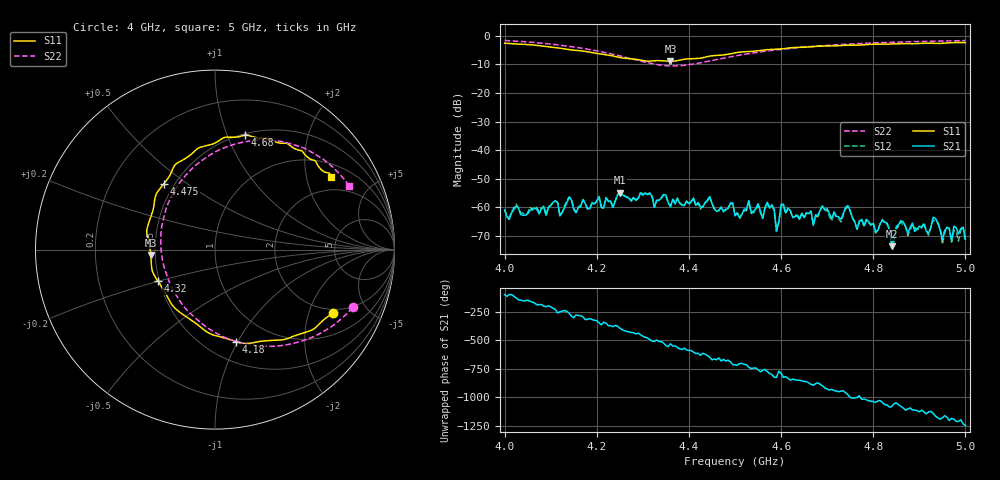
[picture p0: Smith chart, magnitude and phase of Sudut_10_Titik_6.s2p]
# Hz S RI R 50
! CMT, C1220, 16058040, 17.2.0/1
! Date: 15/08/2018 12:08:26
! Data: Format (Calibration Info)
! Freq  S11: Re/Im (F2)  S21: Re/Im (F2)  S12: Re/Im (F2)  S22: Re/Im (F2)
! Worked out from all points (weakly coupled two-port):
!   201 points, 4 GHz to 5 GHz, reference 50 ohm
!   highest |S21| = -54.87 dB at 4.25 GHz (marker M1); lowest = -73.6 dB at 4.84 GHz (marker M2)
!   lowest |S11| = -8.9 dB at 4.36 GHz (marker M3), VSWR 2.12, Z = 23.6 - j1.61 ohm
!   |S11| at or under -10 dB: nowhere
!   |S22| runs from -10.5 to -1.6 dB; largest |S21 - S12| = 0.00014
!   S11 on the Smith chart (normalised r, x): 4 GHz: 1.82, -2.90; 4.18 GHz: 0.70, -0.99; 4.32 GHz: 0.49, -0.20; 4.475 GHz: 0.44, +0.41; 4.68 GHz: 0.51, +1.16; 5 GHz: 1.47, +2.82
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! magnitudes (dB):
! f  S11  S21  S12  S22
! 4 GHz  -2.6  -60.9  -60.7  -1.6
! 4.17 GHz  -5.3  -57.3  -57.4  -4.4
! 4.18 GHz  -5.6  -60.6  -60.5  -4.7
! 4.25 GHz  -7.6  -54.9  -54.9  -7.0
! 4.32 GHz  -8.8  -56.1  -56.2  -9.7
! 4.335 GHz  -8.7  -57.6  -57.5  -10.1
! 4.36 GHz  -8.9  -59.8  -59.6  -10.5
! 4.475 GHz  -6.7  -61.5  -61.3  -7.8
! 4.5 GHz  -5.9  -63.0  -62.4  -7.0
! 4.57 GHz  -4.8  -58.2  -58.7  -5.3
! 4.59 GHz  -4.7  -68.2  -68.5  -4.9
! 4.6 GHz  -4.6  -59.0  -59.6  -4.7
! 4.67 GHz  -3.7  -66.3  -66.0  -3.7
! 4.68 GHz  -3.6  -62.8  -63.2  -3.5
! 4.745 GHz  -3.3  -59.4  -60.0  -2.9
! 4.835 GHz  -2.9  -67.7  -67.7  -2.3
! 4.84 GHz  -2.8  -73.6  -71.7  -2.2
! 4.86 GHz  -2.7  -64.7  -65.0  -2.1
! 4.93 GHz  -2.6  -63.5  -64.5  -1.8
! 4.95 GHz  -2.6  -71.2  -72.9  -1.8
! 4.96 GHz  -2.5  -67.1  -67.0  -1.7
! 5 GHz  -2.4  -71.1  -72.2  -1.6
